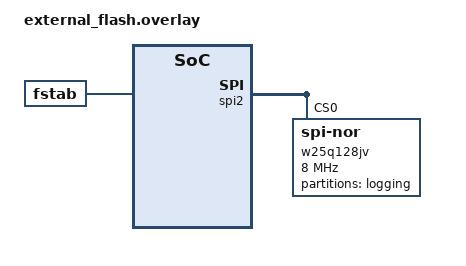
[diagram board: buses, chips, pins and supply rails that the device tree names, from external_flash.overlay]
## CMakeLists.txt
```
# SPDX-License-Identifier: Apache-2.0

cmake_minimum_required(VERSION 3.20.0)

find_package(Zephyr REQUIRED HINTS $ENV{ZEPHYR_BASE})
project(link_control_central_peripheral)

target_sources(app PRIVATE 
	src/central_peripheral.c
	${CMAKE_CURRENT_SOURCE_DIR}/../common/src/link_control/link_control.c
	${CMAKE_CURRENT_SOURCE_DIR}/../common/src/link_control/link_control_service.c
	${CMAKE_CURRENT_SOURCE_DIR}/../common/src/conn_adv_pair/conn_adv_pair.c
)

target_include_directories(app PRIVATE
	${CMAKE_CURRENT_SOURCE_DIR}/../common/include
)
```

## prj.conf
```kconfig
# Enable console
CONFIG_CONSOLE=y

# Enable shell
CONFIG_SHELL=y
CONFIG_SHELL_STACK_SIZE=8192

# Adjust system memory
CONFIG_MAIN_STACK_SIZE=2048
CONFIG_HEAP_MEM_POOL_SIZE=2048
CONFIG_SYSTEM_WORKQUEUE_STACK_SIZE=4096

# Enable BLE
CONFIG_BT=y
CONFIG_BT_DEVICE_NAME="LCS Central"
CONFIG_BT_CTLR_ADV_EXT=y
CONFIG_BT_EXT_ADV=y
CONFIG_BT_PHY_UPDATE=n
CONFIG_BT_CTLR_PHY_2M=n
CONFIG_BT_CTLR_PHY_CODED=n
CONFIG_BT_CTLR_CONN_RSSI=y
CONFIG_BT_CTLR_TX_PWR_DYNAMIC_CONTROL=y
CONFIG_BT_MAX_CONN=2
CONFIG_BT_GATT_CLIENT=y
CONFIG_BT_GATT_DM=y
CONFIG_BT_CENTRAL=y
CONFIG_BT_PERIPHERAL=y
CONFIG_BT_LOG_LEVEL_INF=y

# Enable bonding
CONFIG_BT_MAX_PAIRED=2
CONFIG_BT_SETTINGS=y

# Enable flash for logging, bonding 
CONFIG_NVS=y
CONFIG_SETTINGS=y

# Config logger
CONFIG_LOG=y
CONFIG_LOG_BUFFER_SIZE=8192
CONFIG_LOG_PROCESS_THREAD_STACK_SIZE=2048
```

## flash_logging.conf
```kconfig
CONFIG_SPI=y
CONFIG_SPI_NOR=y

CONFIG_FLASH=y
CONFIG_FLASH_MAP=y
CONFIG_FLASH_PAGE_LAYOUT=y
CONFIG_FLASH_LOG_LEVEL_DBG=y

CONFIG_LOG_BACKEND_FS=y

CONFIG_FILE_SYSTEM=y
CONFIG_FILE_SYSTEM_SHELL=y
CONFIG_FILE_SYSTEM_LITTLEFS=y
CONFIG_FS_LOG_LEVEL_OFF=y

# Log backend config
CONFIG_LOG_BACKEND_FS_FILE_SIZE=4096
CONFIG_LOG_BACKEND_FS_FILES_LIMIT=256
```

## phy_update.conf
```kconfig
CONFIG_BT_PHY_UPDATE=y
CONFIG_BT_USER_PHY_UPDATE=y

CONFIG_BT_CTLR_PHY_2M=y
CONFIG_BT_CTLR_PHY_CODED=y
```

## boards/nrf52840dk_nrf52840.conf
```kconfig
#
# Copyright (c) 2021 Nordic Semiconductor ASA
#
# SPDX-License-Identifier: Apache-2.0
#

CONFIG_NORDIC_QSPI_NOR=y
CONFIG_NORDIC_QSPI_NOR_FLASH_LAYOUT_PAGE_SIZE=4096

# Log backend config
CONFIG_LOG_BACKEND_FS_FILE_SIZE=4096
CONFIG_LOG_BACKEND_FS_FILES_LIMIT=256

CONFIG_NVS=y
```

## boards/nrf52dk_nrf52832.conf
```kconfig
CONFIG_SOC_NRF52832_ALLOW_SPIM_DESPITE_PAN_58=y
```

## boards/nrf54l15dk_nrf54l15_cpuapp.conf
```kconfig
CONFIG_NVS=n
CONFIG_ZMS=y
CONFIG_SETTINGS_ZMS=y
```

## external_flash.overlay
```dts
&spi2 {
	status = "okay";
	w25q128jv: w25q128jv@0 {
		status = "okay";
		compatible ="jedec,spi-nor";
		reg = <0>;
		spi-max-frequency = <DT_FREQ_M(8)>;
		jedec-id = [ef 40 18];
		sfdp-bfp = [
			e5 20 f9 ff  ff ff ff 07  44 eb 08 6b  08 3b 42 bb
			fe ff ff ff  ff ff 00 00  ff ff 40 eb  0c 20 0f 52
			10 d8 00 00  36 02 a6 00  82 ea 14 c9  e9 63 76 33
			7a 75 7a 75  f7 a2 d5 5c  19 f7 4d ff  e9 30 f8 80
		];
		size = <DT_SIZE_M(128)>;
		partitions {
			compatible = "fixed-partitions";
			#address-cells = <1>;
			#size-cells = <1>;

			lfs1_part: partition@0 {
				label = "logging";
				reg = <0x00000000 0x100000>;
			};
		};
	};
};

/ {
	fstab {
		compatible = "zephyr,fstab";
		lfs1: lfs1 {
			compatible = "zephyr,fstab,littlefs";
			mount-point = "/lfs1";
			partition = <&lfs1_part>;
			automount;
			read-size = <16>;
			prog-size = <16>;
			cache-size = <64>;
			lookahead-size = <64>;
			block-cycles = <512>;
		};
	};
};
```

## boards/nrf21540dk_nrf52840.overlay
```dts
&spi2 {
	compatible = "nordic,nrf-spim";
	cs-gpios = <&gpio1 7 GPIO_ACTIVE_LOW>;
};

&pinctrl {
	spi2_default: spi2_default {
		group1 {
			psels = <NRF_PSEL(SPIM_SCK, 1, 10)>,
				<NRF_PSEL(SPIM_MOSI, 1, 11)>,
				<NRF_PSEL(SPIM_MISO, 1, 12)>;
		};
	};

	spi2_sleep: spi2_sleep {
		group1 {
			psels = <NRF_PSEL(SPIM_SCK, 1, 10)>,
				<NRF_PSEL(SPIM_MOSI, 1, 11)>,
				<NRF_PSEL(SPIM_MISO, 1, 12)>;
			low-power-enable;
		};
	};
};

arduino_spi: &spi3 {};
```

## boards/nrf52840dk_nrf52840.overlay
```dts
/*
 * Copyright (c) 2021 Nordic Semiconductor ASA
 *
 * SPDX-License-Identifier: Apache-2.0
 */

/ {
	fstab {
		compatible = "zephyr,fstab";
		lfs1: lfs1 {
			compatible = "zephyr,fstab,littlefs";
			mount-point = "/lfs1";
			partition = <&lfs1_part>;
			automount;
			read-size = <16>;
			prog-size = <16>;
			cache-size = <64>;
			lookahead-size = <64>;
			block-cycles = <512>;
		};
	};
};

&mx25r64 {
	partitions {
		compatible = "fixed-partitions";
		#address-cells = <1>;
		#size-cells = <1>;

		lfs1_part: partition@0 {
			label = "logging";
			reg = <0x00000000 0x100000>;
		};
	};
};
```

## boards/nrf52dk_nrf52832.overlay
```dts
&spi2 {
	compatible = "nordic,nrf-spim";
	anomaly-58-workaround;
	cs-gpios = <&gpio0 22 GPIO_ACTIVE_LOW>;
};
```

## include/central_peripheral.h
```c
#ifndef CENTRAL_PERIPHERAL_H__
#define CENTRAL_PERIPHERAL_H__
#include <stdint.h>

int write_tx_power_peripheral(int8_t tx_power_value);

#endif
```

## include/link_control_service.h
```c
#ifndef LINK_CONTROL_SERVICE_H__
#define LINK_CONTROL_SERVICE_H__

#include <zephyr/types.h>
#include <zephyr/bluetooth/conn.h>
#include <zephyr/bluetooth/uuid.h>
#include <zephyr/bluetooth/gatt.h>

#define BT_UUID_LCS_VAL \
    BT_UUID_128_ENCODE(0x430EBAD0, 0x5C25, 0x469E, 0xA162, 0xA1C9DC50A8FD)
#define BT_UUID_LCS_TX_PWR_PERIPHERAL_VAL \
    BT_UUID_128_ENCODE(0x430EBAD1, 0x5C25, 0x469E, 0xA162, 0xA1C9DC50A8FD)
#define BT_UUID_LCS_RSSI_PERIPHERAL_VAL \
    BT_UUID_128_ENCODE(0x430EBAD2, 0x5C25, 0x469E, 0xA162, 0xA1C9DC50A8FD)
#define BT_UUID_LCS_TX_PWR_CENTRAL_VAL \
    BT_UUID_128_ENCODE(0x430EBAD3, 0x5C25, 0x469E, 0xA162, 0xA1C9DC50A8FD)
#define BT_UUID_LCS_RSSI_CENTRAL_VAL \
    BT_UUID_128_ENCODE(0x430EBAD4, 0x5C25, 0x469E, 0xA162, 0xA1C9DC50A8FD)
#define BT_UUID_LCS                      BT_UUID_DECLARE_128(BT_UUID_LCS_VAL)
#define BT_UUID_LCS_TX_PWR_PERIPHERAL    BT_UUID_DECLARE_128(BT_UUID_LCS_TX_PWR_PERIPHERAL_VAL)
#define BT_UUID_LCS_RSSI_PERIPHERAL      BT_UUID_DECLARE_128(BT_UUID_LCS_RSSI_PERIPHERAL_VAL)
#define BT_UUID_LCS_TX_PWR_CENTRAL       BT_UUID_DECLARE_128(BT_UUID_LCS_TX_PWR_CENTRAL_VAL)
#define BT_UUID_LCS_RSSI_CENTRAL         BT_UUID_DECLARE_128(BT_UUID_LCS_RSSI_CENTRAL_VAL)

void update_peripheral_rssi(struct bt_conn *conn, int16_t new_rssi);
void update_central_rssi(struct bt_conn *conn, int16_t new_rssi);

#endif
```

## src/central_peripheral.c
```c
#include <zephyr/types.h>
#include <stdlib.h>
#include <stddef.h>
#include <zephyr/kernel.h>
#include <zephyr/bluetooth/bluetooth.h>
#include <zephyr/bluetooth/hci.h>
#include <zephyr/bluetooth/conn.h>
#include <zephyr/bluetooth/uuid.h>
#include <zephyr/bluetooth/gatt.h>
#include <zephyr/bluetooth/hci_vs.h>
#include <zephyr/sys/byteorder.h>
#include <zephyr/settings/settings.h>
#include <zephyr/logging/log.h>
#include <zephyr/shell/shell.h>
#include <zephyr/fs/fs.h>

#include "link_control.h"
#include "link_control_service.h"

LOG_MODULE_REGISTER(link_control_central);

static void start_scan(void);
static struct bt_uuid_128 discover_uuid = BT_UUID_INIT_128(0);
static struct bt_conn *central_conn;
struct bt_conn *peripheral_conn;
static uint16_t tx_power_handle;
static uint16_t rssi_handle;
static struct bt_gatt_subscribe_params subscribe_params;

int8_t current_tx_power = 0;

#define NAME_LEN 256
#define DEVICE_NAME CONFIG_BT_DEVICE_NAME
#define DEVICE_NAME_LEN (sizeof(DEVICE_NAME) - 1)

static const struct bt_data ad[] = {
    BT_DATA_BYTES(BT_DATA_FLAGS, (BT_LE_AD_GENERAL | BT_LE_AD_NO_BREDR)),
    BT_DATA(BT_DATA_NAME_COMPLETE, DEVICE_NAME, DEVICE_NAME_LEN),
};

static const struct bt_data sd[] = {
    BT_DATA_BYTES(BT_DATA_UUID128_ALL, BT_UUID_LCS_VAL),
};

static void start_advertising(void) {
    int err = bt_le_adv_start(BT_LE_ADV_CONN, ad, ARRAY_SIZE(ad), sd, ARRAY_SIZE(sd));
    if (err) {
        LOG_ERR("Advertising failed to start (err %d)", err);
        return;
    }
    set_tx_power(BT_HCI_VS_LL_HANDLE_TYPE_ADV, 0, current_tx_power);
}

struct link_control_handles {
    uint16_t tx_power_handle;
};

static bool data_cb(struct bt_data *data, void *user_data) {
    int err;
	char *name = user_data;
	uint8_t len;

    switch (data->type) {
	case BT_DATA_NAME_SHORTENED:
	case BT_DATA_NAME_COMPLETE:
		len = MIN(data->data_len, NAME_LEN - 1);
		memcpy(name, data->data, len);
		name[len] = '\0';
		return false;
    default:
        return true;
    }
}

static void device_found(const bt_addr_le_t *addr, int8_t rssi, uint8_t type,
             struct net_buf_simple *ad)
{
    int err;
    char addr_str[BT_ADDR_LE_STR_LEN];
	char name[30];

	(void)memset(name, 0, sizeof(name));

    if (peripheral_conn) {
        return;
    }

	if (type == BT_GAP_ADV_TYPE_ADV_IND ||
	    type == BT_GAP_ADV_TYPE_ADV_DIRECT_IND ||
	    type == BT_GAP_ADV_TYPE_EXT_ADV) {

		bt_addr_le_to_str(addr, addr_str, sizeof(addr_str));
		bt_data_parse(ad, data_cb, name);

		if (strcmp(name, "LCS Peripheral") == 0) {
			struct bt_conn_le_create_param *create_param;

			create_param = BT_CONN_LE_CREATE_CONN;
			create_param->options |= BT_CONN_LE_OPT_CODED;

			err = bt_le_scan_stop();
			if (err) {
				LOG_ERR("Stop LE scan failed (err %d)", err);
				return;
			}

			err = bt_conn_le_create(addr, create_param,
						BT_LE_CONN_PARAM_DEFAULT, &peripheral_conn);
			if (err < 0) {
				LOG_ERR("Create conn to %s failed (%d)", addr_str, err);
				start_scan();
			} else {
				LOG_INF("Connection initiated to %s", addr_str);
			}
		}
	}
}

static void start_scan(void)
{
    int err;

	struct bt_le_scan_param scan_param = {
		.type       = BT_LE_SCAN_TYPE_ACTIVE,
		.options    = BT_LE_SCAN_OPT_CODED,
		.interval   = BT_GAP_SCAN_FAST_INTERVAL,
		.window     = BT_GAP_SCAN_FAST_WINDOW,
	};

    err = bt_le_scan_start(&scan_param, device_found);
    if (err < 0) {
        LOG_ERR("Scanning failed to start (err %d)", err);
        return;
    }
    LOG_INF("Scanning successfully started");
}

static struct bt_gatt_discover_params discover_params;
static struct bt_gatt_write_params write_params;

static void write_func(struct bt_conn *conn, uint8_t err,
                       struct bt_gatt_write_params *params)
{
    if (err) {
        LOG_ERR("Write failed (err %u)", err);
    } else {
        LOG_INF("Write successful");
    }
}

int write_tx_power_peripheral(int8_t tx_power_value)
{
    int err;
	
	if (peripheral_conn != NULL) {
		write_params.data = &tx_power_value;
		write_params.length = sizeof(tx_power_value);
		write_params.handle = tx_power_handle;
		write_params.offset = 0;
		write_params.func = write_func;

		err = bt_gatt_write(peripheral_conn, &write_params);
		if (err) {
			LOG_ERR("Write failed (err %d)", err);
			return err;
		}
	} else {
		return -EINVAL;
	}
	return 0;
}

static uint8_t rssi_notify_cb(struct bt_conn *conn,
                              struct bt_gatt_subscribe_params *params,
                              const void *data, uint16_t length)
{
    if (!data) {
		#if 0
        LOG_INF("Unsubscribed from RSSI notifications");
        params->value_handle = 0;
		#endif
        return BT_GATT_ITER_STOP;
    }

	int8_t rssi = *(int8_t *)data;

    LOG_INF("Received RSSI notification: %d", rssi);
	update_peripheral_rssi(central_conn, rssi);

    return BT_GATT_ITER_CONTINUE;
}

static uint8_t discover_func(struct bt_conn *conn,
                             const struct bt_gatt_attr *attr,
                             struct bt_gatt_discover_params *params)
{
    int err;

    if (!attr) {
        LOG_INF("Discover complete");
        (void)memset(params, 0, sizeof(*params));
        return BT_GATT_ITER_STOP;
    }

    LOG_INF("[ATTRIBUTE] handle %u", attr->handle);

	char str[BT_UUID_STR_LEN];

	bt_uuid_to_str(attr->uuid, str, sizeof(str));
	LOG_INF("UUID: %s", str);

    if (bt_uuid_cmp(discover_params.uuid, BT_UUID_LCS) == 0) {
        // Service discovered, now discover characteristics
		memcpy(&discover_uuid, BT_UUID_LCS_TX_PWR_PERIPHERAL, sizeof(discover_uuid));
		discover_params.uuid = &discover_uuid.uuid;
        discover_params.start_handle = attr->handle + 1;
        discover_params.type = BT_GATT_DISCOVER_CHARACTERISTIC;

        err = bt_gatt_discover(conn, &discover_params);
        if (err) {
            LOG_ERR("Discover failed (err %d)", err);
        }
    } else if (bt_uuid_cmp(discover_params.uuid, BT_UUID_LCS_TX_PWR_PERIPHERAL) == 0) {
        // TX Power characteristic found
        tx_power_handle = bt_gatt_attr_value_handle(attr);
        LOG_INF("TX Power characteristic handle: %u", tx_power_handle);

		memcpy(&discover_uuid, BT_UUID_LCS_RSSI_PERIPHERAL, sizeof(discover_uuid));
		discover_params.uuid = &discover_uuid.uuid;
        discover_params.start_handle = attr->handle + 1;
        discover_params.type = BT_GATT_DISCOVER_CHARACTERISTIC;

        err = bt_gatt_discover(conn, &discover_params);
        if (err) {
            LOG_ERR("Discover failed (err %d)", err);
        }
    } else if (bt_uuid_cmp(discover_params.uuid, BT_UUID_LCS_RSSI_PERIPHERAL) == 0) {
		rssi_handle = bt_gatt_attr_value_handle(attr);
		LOG_INF("RSSI characteristic handle: %u", rssi_handle);

		struct bt_uuid_16 ccc_uuid = BT_UUID_INIT_16(0);
		memcpy(&ccc_uuid, BT_UUID_GATT_CCC, sizeof(ccc_uuid));

		discover_params.uuid = &ccc_uuid.uuid;
		discover_params.start_handle = attr->handle + 2;
		discover_params.type = BT_GATT_DISCOVER_DESCRIPTOR;
		subscribe_params.value_handle = bt_gatt_attr_value_handle(attr);

		err = bt_gatt_discover(conn, &discover_params);
		if (err) {
			LOG_ERR("Discover failed (err %d)", err);
		}
	} else {
		subscribe_params.notify = rssi_notify_cb;
		subscribe_params.value = BT_GATT_CCC_NOTIFY;
		subscribe_params.ccc_handle = attr->handle;

		err = bt_gatt_subscribe(conn, &subscribe_params);
		if (err && err != -EALREADY) {
			LOG_ERR("Subscribe failed (err %d)", err);
		} else {
			LOG_INF("[SUBSCRIBED]");
		}

		return BT_GATT_ITER_STOP;
	}

    return BT_GATT_ITER_STOP;
}

void get_central_rssi_work_handler(struct k_work *item) {
	int err;
	int8_t rssi;
	uint16_t conn_handle;

	bt_hci_get_conn_handle(central_conn, &conn_handle);

	err = read_conn_rssi(conn_handle, &rssi);
	LOG_INF("Central RSSI: %d", rssi);

	update_central_rssi(central_conn, rssi);
}

K_WORK_DEFINE(central_rssi_work, get_central_rssi_work_handler);

void get_rssi(struct k_timer *timer_id) {
	if (central_conn != NULL) {
		k_work_submit(&central_rssi_work);
	}
}

K_TIMER_DEFINE(central_rssi_timer, get_rssi, NULL);

static void connected(struct bt_conn *conn, uint8_t err)
{
    char addr[BT_ADDR_LE_STR_LEN];
    bt_addr_le_to_str(bt_conn_get_dst(conn), addr, sizeof(addr));

    if (err < 0) {
        LOG_ERR("Failed to connect to %s (%u)", addr, err);
        bt_conn_unref(peripheral_conn);
        peripheral_conn = NULL;
        start_scan();
        return;
    }

    LOG_INF("Connected: %s", addr);
    if (conn == peripheral_conn) {
		memcpy(&discover_uuid, BT_UUID_LCS, sizeof(discover_uuid));
		discover_params.uuid = &discover_uuid.uuid;
		discover_params.func = discover_func;
		discover_params.start_handle = BT_ATT_FIRST_ATTRIBUTE_HANDLE;
		discover_params.end_handle = BT_ATT_LAST_ATTRIBUTE_HANDLE;
		discover_params.type = BT_GATT_DISCOVER_PRIMARY;

		err = bt_gatt_discover(conn, &discover_params);
		if (err) {
			LOG_ERR("Discover failed (err %d)", err);
		}
    } else {
		if (central_conn == NULL) {
			LOG_INF("Connected to central");
			central_conn = conn;
		}
	}
}

static void disconnected(struct bt_conn *conn, uint8_t reason)
{
    char addr[BT_ADDR_LE_STR_LEN];


    bt_addr_le_to_str(bt_conn_get_dst(conn), addr, sizeof(addr));
    LOG_INF("Disconnected: %s (reason 0x%02x)", addr, reason);

	if (conn == peripheral_conn) {
		bt_conn_unref(peripheral_conn);
		peripheral_conn = NULL;

		start_scan();
	} else if (conn == central_conn) {
		k_timer_stop(&central_rssi_timer);
	}
}

#if IS_ENABLED(CONFIG_BT_USER_PHY_UPDATE)
static void le_phy_updated(struct bt_conn *conn,
               struct bt_conn_le_phy_info *param)
{
    char addr[BT_ADDR_LE_STR_LEN];

    bt_addr_le_to_str(bt_conn_get_dst(conn), addr, sizeof(addr));

    LOG_INF("LE PHY Updated: %s Tx 0x%x, Rx 0x%x", addr, param->tx_phy,
           param->rx_phy);
}
#endif

BT_CONN_CB_DEFINE(conn_callbacks) = {
    .connected = connected,
    .disconnected = disconnected,
#if IS_ENABLED(CONFIG_BT_USER_PHY_UPDATE)
    .le_phy_updated = le_phy_updated,
#endif
};

static int cmd_set_peripheral_tx(const struct shell *shell, size_t argc, char **argv)
{
    int8_t tx_power;
    if (argc != 2) {
        shell_error(shell, "Usage: set_peripheral_tx <power_level>");
        return -EINVAL;
    }
    tx_power = (int8_t)atoi(argv[1]);
    if (!peripheral_conn) {
        shell_error(shell, "No active connection");
        return -ENOEXEC;
    }
    write_tx_power_peripheral(tx_power);
    return 0;
}

static int cmd_set_central_tx(const struct shell *shell, size_t argc, char **argv)
{
    int err;
    uint16_t conn_handle;
    if (argc != 2) {
        shell_error(shell, "Usage: set_central_tx <power_level>");
        return -EINVAL;
    }
    current_tx_power = (int8_t)atoi(argv[1]);
    if (!peripheral_conn) {
        shell_error(shell, "No active connection");
        return -ENOEXEC;
    }
    err = bt_hci_get_conn_handle(peripheral_conn, &conn_handle);
    if (err) {
        shell_error(shell, "Failed to get connection handle (err %d)", err);
        return err;
    }
    err = set_tx_power(BT_HCI_VS_LL_HANDLE_TYPE_CONN, conn_handle, current_tx_power);
    if (err) {
        shell_error(shell, "Failed to set central TX power (err %d)", err);
        return err;
    }
    shell_print(shell, "Central TX power set to %d", current_tx_power);
    return 0;
}

#if IS_ENABLED(CONFIG_BT_USER_PHY_UPDATE)
static int cmd_set_phy(const struct shell *shell, size_t argc, char **argv)
{
    int err;
    uint8_t phy;
    if (argc != 2) {
        shell_error(shell, "Usage: set_phy <1m|2m|coded>");
        return -EINVAL;
    }
    if (!peripheral_conn) {
        shell_error(shell, "No active connection");
        return -ENOEXEC;
    }
    if (strcmp(argv[1], "1m") == 0) {
        phy = BT_GAP_LE_PHY_1M;
    } else if (strcmp(argv[1], "2m") == 0) {
        phy = BT_GAP_LE_PHY_2M;
    } else if (strcmp(argv[1], "coded") == 0) {
        phy = BT_GAP_LE_PHY_CODED;
    } else {
        shell_error(shell, "Invalid PHY option. Use 1m, 2m, or coded.");
        return -EINVAL;
    }
    err = update_phy(peripheral_conn, phy);
    if (err) {
        shell_error(shell, "Failed to update PHY (err %d)", err);
        return err;
    }
    shell_print(shell, "PHY update initiated to %s", argv[1]);
    return 0;
}
#endif

#if IS_ENABLED(CONFIG_LOG_BACKEND_FS)
static int cmd_remove_logs(const struct shell *shell, size_t argc, char **argv) {
    int res;
    struct fs_dir_t dirp;
    struct fs_dirent entry;

	char dir_path[64] = "/lfs1";

    fs_dir_t_init(&dirp);

    res = fs_opendir(&dirp, dir_path);
    if (res) {
        shell_error(shell, "Error opening directory %s [%d]\n", dir_path, res);
        return res;
    }

    shell_print(shell, "Clearing directory %s\n", dir_path);
    for (;;) {
        char file_path[PATH_MAX] = { 0 };

        res = fs_readdir(&dirp, &entry);

        /* entry.name[0] == 0 means end-of-dir */
        if (res || entry.name[0] == 0) {
            break;
        }

        /* Delete file or sub directory */
        snprintf(file_path, sizeof(file_path), "%s/%s", dir_path, entry.name);
        res = fs_unlink(file_path);
        if (res) {
            shell_error(shell, "Error deleting file/dir [%d]\n", res);
            fs_closedir(&dirp);
            return res;
        }
    }

    fs_closedir(&dirp);
    shell_print(shell, "Directory %s cleared successfully\n", dir_path);
	return 0;
}
#endif

SHELL_STATIC_SUBCMD_SET_CREATE(link_control_cmds,
    SHELL_CMD(set_peripheral_tx, NULL, "Set peripheral TX power", cmd_set_peripheral_tx),
    SHELL_CMD(set_central_tx, NULL, "Set central TX power", cmd_set_central_tx),
#if IS_ENABLED(CONFIG_BT_USER_PHY_UPDATE)
    SHELL_CMD(set_phy, NULL, "Set PHY (1m, 2m, or coded)", cmd_set_phy),
#endif
#if IS_ENABLED(CONFIG_LOG_BACKEND_FS)
	SHELL_CMD(remove_logs, NULL, "Removes all logs", cmd_remove_logs),
#endif
    SHELL_SUBCMD_SET_END
);

SHELL_CMD_REGISTER(link_control, &link_control_cmds, "Link Control commands", NULL);

int main(void)
{
    int err;

    err = bt_enable(NULL);
    if (err < 0) {
        LOG_ERR("Bluetooth init failed (err %d)", err);
        return 0;
    }
    LOG_INF("Bluetooth initialized");

    if (IS_ENABLED(CONFIG_SETTINGS)) {
        settings_load();
    }

	start_advertising();
	LOG_INF("Advertising started");

    start_scan();
	LOG_INF("Scanning started");

    return 0;
}
```
